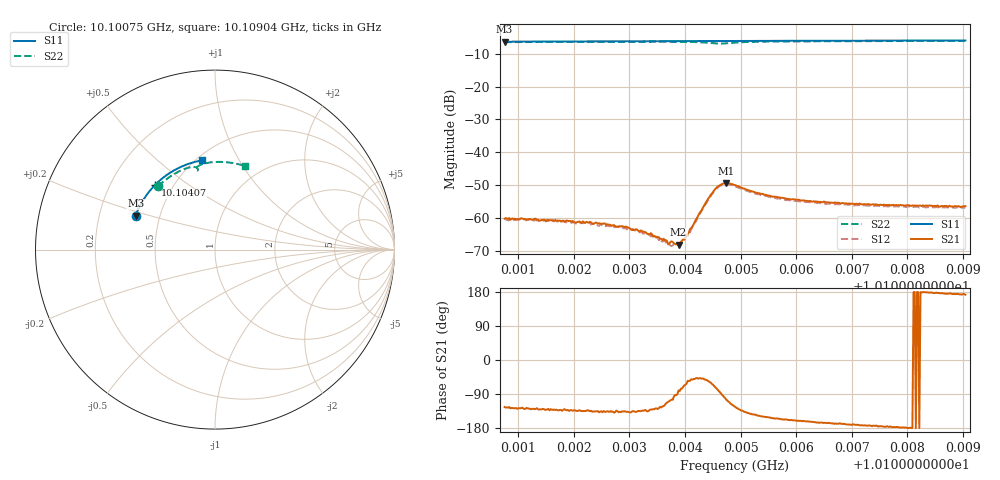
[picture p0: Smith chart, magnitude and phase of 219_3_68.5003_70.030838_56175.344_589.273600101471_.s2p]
#  HZ  S  RI  R  50.00
! Rohde & Schwarz Vector Network Analyzer
! Rohde-Schwarz,ZNB20-2Port,1311601062101988,3.16
! Created: UTC 3/20/2024, 4:58:22 PM
! freq[Hz]  re:S11  im:S11  re:S21  im:S21  re:S12  im:S12  re:S22  im:S22
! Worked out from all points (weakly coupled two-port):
!   401 points, 10.10075 GHz to 10.10904 GHz, reference 50 ohm
!   highest |S21| = -49.41 dB at 10.10473 GHz (marker M1); lowest = -68.2 dB at 10.10388 GHz (marker M2)
!   lowest |S11| = -6.4 dB at 10.10075 GHz (marker M3), VSWR 2.85, Z = 18.2 + j8.96 ohm
!   |S11| at or under -10 dB: nowhere
!   |S22| runs from -6.9 to -6.1 dB; largest |S21 - S12| = 0.00033
!   S11 on the Smith chart (normalised r, x): 10.10075 GHz: 0.36, +0.18; 10.10407 GHz: 0.40, +0.38; 10.10904 GHz: 0.53, +0.71
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1.0100755e10  -0.4421 0.1895  -0.000545 -0.000809  -0.000491 -0.000825  -0.317 0.352
1.0102143e10  -0.4062 0.2661  -0.000584 -0.000597  -0.000538 -0.000649  -0.2472 0.4089
1.0102909e10  -0.3807 0.3051  -0.000516 -0.00051  -0.000451 -0.000528  -0.2035 0.4345
1.0103096e10  -0.374 0.3142  -0.00048 -0.000452  -0.000422 -0.000483  -0.1923 0.44
1.0103241e10  -0.3685 0.3212  -0.000425 -0.000449  -0.000368 -0.000443  -0.1834 0.444
1.0103448e10  -0.3606 0.3309  -0.000341 -0.000407  -0.000289 -0.000434  -0.1701 0.4493
1.0103531e10  -0.3574 0.3347  -0.000302 -0.000405  -0.000228 -0.000396  -0.1646 0.4513
1.0103717e10  -0.35 0.3433  -0.000127 -0.000385  -9.86e-05 -0.000383  -0.1519 0.4555
1.010378e10  -0.3476 0.3461  -0.00011 -0.000415  -6.24e-05 -0.000381  -0.1475 0.4566
1.0103883e10  -0.3431 0.3507  6.48e-05 -0.000384  5.29e-05 -0.000389  -0.1399 0.4582
1.0103945e10  -0.3408 0.3535  0.000114 -0.000434  0.00015 -0.000398  -0.1353 0.4593
1.010407e10  -0.3354 0.359  0.000343 -0.000496  0.000353 -0.000471  -0.1255 0.4604
1.0104277e10  -0.3264 0.3678  0.000823 -0.000916  0.000891 -0.000789  -0.1083 0.4588
1.0104484e10  -0.3172 0.3762  0.00106 -0.0021  0.0012 -0.00195  -0.0951 0.4481
1.0104608e10  -0.3117 0.3812  0.000433 -0.00305  0.000658 -0.0029  -0.0968 0.4407
1.0104733e10  -0.3062 0.3861  -0.000743 -0.0033  -0.000466 -0.0032  -0.103 0.4423
1.0104898e10  -0.2986 0.3928  -0.00176 -0.00264  -0.00148 -0.00268  -0.1026 0.4545
1.010525e10  -0.2818 0.4061  -0.00201 -0.00143  -0.00179 -0.00156  -0.0808 0.4722
1.010554e10  -0.2677 0.4164  -0.0019 -0.000994  -0.00171 -0.00113  -0.0604 0.4795
1.0106286e10  -0.2297 0.4407  -0.00169 -0.000505  -0.0016 -0.000657  -0.00993 0.4875
1.0107674e10  -0.1534 0.4756  -0.00158 -0.000105  -0.00149 -0.000252  0.0804 0.485
1.0109042e10  -0.0735 0.4968  -0.0015 0.000203  -0.00141 3.6e-05  0.1656 0.4658
